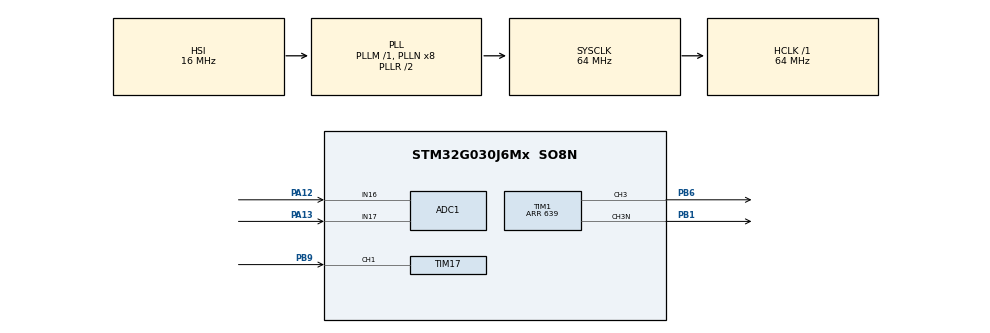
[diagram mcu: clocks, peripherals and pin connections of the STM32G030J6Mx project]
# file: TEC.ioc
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ADC1.NbrOfConversion=1
ADC1.NbrOfConversionFlag=0
ADC1.SamplingTimeCommon1=ADC_SAMPLETIME_39CYCLES_5
ADC1.SelectedChannel=ADC_CHANNEL_16|ADC_CHANNEL_17
ADC1.Sequencer=NOT_FULLY_CONFIGURABLE
ADC1.master=1
Dma.ADC1.0.Direction=DMA_PERIPH_TO_MEMORY
Dma.ADC1.0.EventEnable=DISABLE
Dma.ADC1.0.Instance=DMA1_Channel1
Dma.ADC1.0.MemDataAlignment=DMA_MDATAALIGN_HALFWORD
Dma.ADC1.0.MemInc=DMA_MINC_ENABLE
Dma.ADC1.0.Mode=DMA_NORMAL
Dma.ADC1.0.PeriphDataAlignment=DMA_PDATAALIGN_HALFWORD
Dma.ADC1.0.PeriphInc=DMA_PINC_DISABLE
Dma.ADC1.0.Polarity=HAL_DMAMUX_REQ_GEN_RISING
Dma.ADC1.0.Priority=DMA_PRIORITY_LOW
Dma.ADC1.0.RequestNumber=1
Dma.ADC1.0.SignalID=NONE
Dma.ADC1.0.SyncEnable=DISABLE
Dma.ADC1.0.SyncPolarity=HAL_DMAMUX_SYNC_NO_EVENT
Dma.ADC1.0.SyncRequestNumber=1
Dma.ADC1.0.SyncSignalID=NONE
Dma.Request0=ADC1
Mcu.Family=STM32G0
Mcu.Name=STM32G030J6Mx
Mcu.Package=SO8N
Mcu.UserConstants=MIN_POWER_PWM,17;MAX_POWER_PWM,622
NRST__PA0__PA1__PA2.StandardMode=true
NVIC.DMA1_Channel1_IRQn=true\:1\:0\:true\:false\:true\:false\:true\:true
NVIC.TIM17_IRQn=true\:0\:0\:false\:false\:true\:true\:true\:true
NVIC.TIM1_BRK_UP_TRG_COM_IRQn=true\:2\:0\:true\:false\:true\:true\:true\:true
PA12\ [PA10].Mode=IN16
PA12\ [PA10].Signal=ADC1_IN16
PA13.Mode=IN17
PA13.Signal=ADC1_IN17
PA14-BOOT0__PA15__PB5__PB6.StandardMode=true
PB0__PB1__PA8__PA11\ [PA9].StandardMode=true
PB1.GPIO_PuPd=GPIO_PULLDOWN
PB1.Mode=PWM Generation3 CH3 CH3N
PB1.Signal=TIM1_CH3N
PB6.Signal=S_TIM1_CH3
PB9.GPIO_PuPd=GPIO_PULLDOWN
PB9.Signal=S_TIM17_CH1
PC14-OSC32_IN\ (PC14)__PB7__PB8__PB9.StandardMode=true
ProjectManager.HeapSize=0x200
ProjectManager.StackSize=0x400
ProjectManager.TargetToolchain=MDK-ARM V5.32
RCC.ADCCLockSelection=RCC_ADCCLKSOURCE_HSI
RCC.ADCFreq_Value=16000000
RCC.AHBFreq_Value=64000000
RCC.CortexFreq_Value=64000000
RCC.EXTERNAL_CLOCK_VALUE=12288000
RCC.HCLKFreq_Value=64000000
RCC.HSE_VALUE=8000000
RCC.HSI_VALUE=16000000
RCC.LSE_VALUE=32768
RCC.SYSCLKFreq_VALUE=64000000
RCC.SYSCLKSource=RCC_SYSCLKSOURCE_PLLCLK
RCC.VCOOutputFreq_Value=128000000
SH.S_TIM17_CH1.0=TIM17_CH1,Input_Capture1_from_TI1
SH.S_TIM1_CH3.0=TIM1_CH3,PWM Generation3 CH3 CH3N
TIM1.Channel-PWM\ Generation3\ CH3\ CH3N=TIM_CHANNEL_3
TIM1.DeadTime=6
TIM1.OCMode_PWM-PWM\ Generation3\ CH3\ CH3N=TIM_OCMODE_PWM1
TIM1.Period=639
TIM1.Pulse-PWM\ Generation3\ CH3\ CH3N=17
TIM1.RepetitionCounter=3
TIM17.Channel=TIM_CHANNEL_1
TIM17.ICPolarity_CH1=TIM_INPUTCHANNELPOLARITY_BOTHEDGE
VP_TIM17_VS_ClockSourceINT.Mode=Enable_Timer
VP_TIM1_VS_ClockSourceINT.Mode=Internal
board=custom

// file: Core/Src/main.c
/* USER CODE BEGIN Header */
/**
  ******************************************************************************
  * @file           : main.c
  * @brief          : Main program body
  ******************************************************************************
  * @attention
  *
  * Copyright (c) 2022 STMicroelectronics.
  * All rights reserved.
  *
  * This software is licensed under terms that can be found in the LICENSE file
  * in the root directory of this software component.
  * If no LICENSE file comes with this software, it is provided AS-IS.
  *
  ******************************************************************************
  */
/* USER CODE END Header */
#include "main.h"

/* USER CODE BEGIN Includes */
#include "math.h"
#include "constant.h"

/* USER CODE END Includes */

ADC_HandleTypeDef hadc1;
DMA_HandleTypeDef hdma_adc1;

TIM_HandleTypeDef htim1;
TIM_HandleTypeDef htim17;

/* USER CODE BEGIN PV */
	volatile uint16_t adc[2] = {0,}; // у нас два канала поэтому массив из двух элементов

/* USER CODE END PV */

void SystemClock_Config(void);
static void MX_GPIO_Init(void);
static void MX_TIM1_Init(void);
static void MX_DMA_Init(void);
static void MX_ADC1_Init(void);
static void MX_TIM17_Init(void);

/* USER CODE BEGIN 0 */
enum Work_DC_DC {OFF_DC, LOW_GND, CALIBRATE_ADC_DC, VOLTAG_DC, CURRENT_DC, POWER_DC};	//Виды режимов функционирования DC/DC
enum Work_DC_DC type_work_dc_dc = CALIBRATE_ADC_DC;		//Режим работы DC/DC при включении питания - калибровка АЦП
enum Work_DC_DC return_type_work_dc_dc = LOW_GND;		//Режим работы DC/DC после калибровка АЦП или иной, если калибровку включили не при старте
uint32_t duty_cycle = 0;	//Стартуем на вырожденном PWM нижний транзистор всегда открыт, верхний закрыт. Идет калибровка АЦП

void delay(uint32_t n)  {

  while(n>0) n--;
}
//**************
//Калбэк таймера захвата ШИМ
uint16_t pwm_in_count_control = 0;
uint16_t pwm_in_flag_max_power = 0;		//Флаг приема команды включения максимальной мощности
uint16_t cap_pwm_fall = 0;
uint16_t cap_pwm_rise = 0;
uint16_t cap_pwm_in_old_rise = 0;
uint16_t cap_pwm_in_long_hight = 0;
uint16_t cap_pwm_in_long_period = 0;
uint32_t cap_power_in_scale = 0;	//отмасштабированная принятая уставка управления по мощности
uint32_t cap_v_in_scale = 0;	//отмасштабированная принятая уставка управления по напряжению
uint32_t cap_i_in_scale = 0;	//отмасштабированная принятая уставка управления по току

void HAL_TIM_IC_CaptureCallback(TIM_HandleTypeDef *htim) // колбек по захвату
{
	if(htim->Instance == TIM17)	{
		if(htim->Channel == HAL_TIM_ACTIVE_CHANNEL_1)	{// RISE/FALL
			//Чтение уровня на порте, для определения полярности пришедшего фронта. Исправить номер порта на маленьком процессоре!!! - GPB9?
			if (GPIOB->IDR & 0x0200)	{
				cap_pwm_rise = HAL_TIM_ReadCapturedValue(&htim17, TIM_CHANNEL_1); // чтение значения в регистре захвата/сравнения;
				cap_pwm_in_long_period = cap_pwm_rise - cap_pwm_in_old_rise;
				cap_pwm_in_old_rise = cap_pwm_rise;
			}
			else	{
				cap_pwm_fall = HAL_TIM_ReadCapturedValue(&htim17, TIM_CHANNEL_1); // чтение значения в регистре захвата/сравнения;;
				cap_pwm_in_long_hight = cap_pwm_fall - cap_pwm_rise;
			}
			//Проверка, что DC/DC не находится в режиме калибровки АЦП
			if (type_work_dc_dc != CALIBRATE_ADC_DC)	{
				//Проверка на рабочий диапазон периода ШИМ для управления по мощности (управление режимом калибровки АЦП и выход на стабилизацию напряжения, для максимальной мощности с пельтье)
				if ((cap_pwm_in_long_period >= PWM_IN_CONTROL_PERIOD_POWER_MIN) && (cap_pwm_in_long_period <= PWM_IN_CONTROL_PERIOD_POWER_MAX))	{
					//Сброс счетчика контроля работающего ШИМ управления
					pwm_in_count_control = 0;
					//Проверка на рабочий диапазон ШИМ по управления
					if ((cap_pwm_in_long_hight >= PWM_IN_MIN) && (cap_pwm_in_long_hight <= PWM_IN_MAX))	{
						cap_power_in_scale = (cap_pwm_in_long_hight - PWM_IN_MIN) * PWM_TO_POWER_SCALE;
						type_work_dc_dc = POWER_DC;	//Включаем режим стабилизации мощности
					}
					else	{
						cap_power_in_scale = 0; //Установка минимального значения
						type_work_dc_dc = POWER_DC;	//Включаем режим стабилизации мощности
					}
					//Проверка на включение режима калибровки АЦП
					if ((cap_pwm_in_long_hight >= PWM_IN_CALIBRATION_MIN) && (cap_pwm_in_long_hight <= PWM_IN_CALIBRATION_MAX))	{
						return_type_work_dc_dc = POWER_DC;	//Сохраняем для возврата из режима калибровки режим стабилизации мощности
						type_work_dc_dc = CALIBRATE_ADC_DC;	//Включаем режим калиброки АЦП
					}
					//Проверка на включение режима максимальной мощности
					if ((cap_pwm_in_long_hight >= PWM_IN_MAX_POWER_MIN) && (cap_pwm_in_long_hight <= PWM_IN_MAX_POWER_MAX))		{
						cap_v_in_scale = MAX_V_PILTIE;	//Уставка максимальной мощности по напряжению для пельтье
						type_work_dc_dc = VOLTAG_DC;	//Включаем режим стабилизации напряжения
					}
				}
					//Проверка на рабочий диапазон ШИМ для управления стабилизацией напряжения
				else if ((cap_pwm_in_long_period >= PWM_IN_CONTROL_PERIOD_VOLTAG_MIN) && (cap_pwm_in_long_period <= PWM_IN_CONTROL_PERIOD_VOLTAG_MAX))	{
					//Сброс счетчика контроля работающего ШИМ управлению напряжением
					pwm_in_count_control = 0;
					//Проверка на рабочий диапазон ШИМ по управлению напряжением
					if ((cap_pwm_in_long_hight >= PWM_IN_MIN) && (cap_pwm_in_long_hight <= PWM_IN_MAX))	{
						cap_v_in_scale = (cap_pwm_in_long_hight - PWM_IN_MIN) * PWM_TO_VOLTAG_SCALE;
						type_work_dc_dc = VOLTAG_DC;	//Включаем режим стабилизации напряжения
					}
					else	{
						cap_v_in_scale = 0; //Установка минимального значения
						type_work_dc_dc = VOLTAG_DC;	//Включаем режим стабилизации напряжения
					}
					//Проверка на включение режима калибровки АЦП
					if ((cap_pwm_in_long_hight >= PWM_IN_CALIBRATION_MIN) && (cap_pwm_in_long_hight <= PWM_IN_CALIBRATION_MAX))	{
						return_type_work_dc_dc = VOLTAG_DC;	//Сохраняем для возврата из режима калибровки режим стабилизации напряжени
						type_work_dc_dc = CALIBRATE_ADC_DC;	//Включаем режим калиброки АЦП
					}
				}
				//Проверка на рабочий диапазон ШИМ для управления стабилизацией тока
				else if ((cap_pwm_in_long_period >= PWM_IN_CONTROL_PERIOD_CURRENT_MIN) && (cap_pwm_in_long_period <= PWM_IN_CONTROL_PERIOD_CURRENT_MAX))	{
					//Сброс счетчика контроля работающего ШИМ управлению током
					pwm_in_count_control = 0;
					//Проверка на рабочий диапазон ШИМ по управлению током
					if ((cap_pwm_in_long_hight >= PWM_IN_MIN) && (cap_pwm_in_long_hight <= PWM_IN_MAX))	{
						cap_i_in_scale = (cap_pwm_in_long_hight - PWM_IN_MIN) * PWM_TO_CURRENT_SCALE;
						type_work_dc_dc = CURRENT_DC;	//Включаем режим стабилизации тока
					}
					else	{
						cap_i_in_scale = 0; //Установка минимального значения
						type_work_dc_dc = CURRENT_DC;	//Включаем режим стабилизации тока
					}
					//Проверка на включение режима калибровки АЦП
					if ((cap_pwm_in_long_hight >= PWM_IN_CALIBRATION_MIN) && (cap_pwm_in_long_hight <= PWM_IN_CALIBRATION_MAX))	{
						return_type_work_dc_dc = CURRENT_DC;	//Сохраняем для возврата из режима калибровки режим стабилизации тока
						type_work_dc_dc = CALIBRATE_ADC_DC;	//Включаем режим калиброки АЦП
					}
				}
				//Входной ШИМ не попадает по частоте ни в один из диапазонов
				else
					type_work_dc_dc = OFF_DC;	//Режим работы ШИМ - выключен
			}
		}
	}
}

//**************
//Калбэк таймера генератора ШИМ
uint64_t count_64_1 = 0;
uint64_t count_64_2 = 0;

void HAL_TIM_PeriodElapsedCallback(TIM_HandleTypeDef *htim)
{
	// GPIOA->ODR |= 0x20;//Для настройки на отладке!!!
  if(htim->Instance == TIM1) //проверяем какой таймер вызвал колбек
   {

		__HAL_TIM_SET_COMPARE(&htim1, TIM_CHANNEL_3, duty_cycle);
		//Софтовый запуск АЦП
		HAL_ADC_Start_DMA(&hadc1, (uint32_t*)&adc, 2); // стартуем АЦП
   }
}
//**************
//Калбэк АЦП. Тут происходит обработка логики работы и расчет регуляторов DC/DC
uint32_t flag_adc_calibrate = 1; //Включен режим стартовой калибровки АЦП
uint32_t count_start_adc = 0;			//
uint32_t count_stop_adc = 0;

uint32_t i_adc;
uint32_t i_adc_offset = 0;	//Настроечный коэффициент смещения
uint32_t i_adc_filtr;
uint32_t i_adc_filtr_normal;
uint32_t v_adc;
uint32_t v_adc_filtr;
uint32_t v_adc_offset = 0;	//Настроечный коэффициент смещения
uint32_t v_adc_filtr_normal;

//Переменные регулятора мощности
uint32_t pwr_adc;
int32_t pwr_uprav = 0;
int64_t pwr_uprav_filtr = 0;
int32_t pwr_uprav_filtr_out = 0;
uint32_t pwr_duty_cycle = 0;
uint32_t pwr_ustavka = 0;
int32_t pwr_kp = 12;
int32_t pwr_kd = 12;
int32_t pwr_ki = 0;
int32_t pwr_error = 0;
int32_t pwr_old = 0;
int32_t pwr_velocity = 0;
int32_t pwr_i = 0;
int64_t pwr_i64 = 0;
//Переменные регулятора напряжения
int32_t v_uprav = 0;
int32_t v_uprav_filtr = 0;
int32_t v_uprav_filtr_out = 0;
uint32_t v_duty_cycle = 0;
uint32_t v_ustavka = 0;
int32_t v_kp = 5;
int32_t v_kd = 30;
int32_t v_ki = 3;
int32_t v_error = 0;
int32_t v_old = 0;
int32_t v_velocity = 0;
int32_t v_integrator = 0;
int64_t v_i64 = 0;
//Переменные регулятора тока
int32_t i_uprav = 0;
int32_t i_uprav_filtr = 0;
int64_t i_uprav_filtr_out = 0;
uint32_t i_duty_cycle = 0;
uint32_t i_ustavka = 0;
int32_t i_kp = 5;
int32_t i_kd = 30;
int32_t i_ki = 3;
int32_t i_error = 0;
int32_t i_old = 0;
int32_t i_velocity = 0;
int32_t i_integrator = 0;
int64_t i_i64 = 0;

void HAL_ADC_ConvCpltCallback(ADC_HandleTypeDef* hadc)	{

	if(hadc->Instance == ADC1)	{ //Проверяем, что эвент с  ACD1
		//Примечание, в режиме работы АЦП данного проекта, в младший индекс массива, записывается АЦП с младшим каналом
		HAL_ADC_Stop_DMA(&hadc1);

		//Проверка на режим работы DC/DC
		switch (type_work_dc_dc)	{
			case LOW_GND:
				//ШИМ работает виртуально, граничное значение, нижний транзистор всегда открыт.
				duty_cycle = PWM_ZERO;	//Вырождаем ШИМ
			break;
//Режим работы калибровки АЦП DC/DC			******************************************************************************
			case CALIBRATE_ADC_DC:	//Режим калибровки АЦП
				count_start_adc++;	//Отсчет счетчика калибровки АЦП
				if (count_start_adc <= COUNT_ADC_CALIBRATE_START)
					duty_cycle = PWM_ZERO;	//Вырождаем ШИМ
				else {
					//Расчет фильтров калибровки осреднением
					v_adc_offset += adc[1];
					i_adc_offset += adc[0];
					//Проверка на завершение режима стартовой калибровки АЦП
					if (count_start_adc >= COUNT_ADC_CALIBRATE)	{
						count_start_adc = 0;	//Сброс счетчика калибровки АЦП для следующего цикла
						i_adc_offset = i_adc_offset >> 14;
						v_adc_offset = v_adc_offset >> 14;
						type_work_dc_dc = return_type_work_dc_dc;	//После калибровки, выходим в сохраненный режим
					}
				}
			break;
//Режим работы стабилизации мощности DC/DC			******************************************************************************
			case POWER_DC:
				//Небольшая фильтрация входа ацп тока и напряжения при 25 кГц вызова полоса примерно 100 Гц
				/*v_adc = v_adc - (v_adc >> 8) + (adc[0] <<12);
				v_adc_filtr = v_adc >> 20;
				i_adc = i_adc - (i_adc >> 8) + (adc[1] << 12);
				i_adc_filtr = i_adc >> 20;*/
				//Небольшая фильтрация входа ацп тока и напряжения при 25 кГц вызова полоса примерно 390 Гц
				/*v_adc = v_adc - (v_adc >> 6) + (adc[0] << 14);
				v_adc_filtr = v_adc >> 20;
				i_adc = i_adc - (i_adc >> 6) + (adc[1] << 14);
				i_adc_filtr = i_adc >> 20;*/
				//Небольшая фильтрация входа ацп тока и напряжения при 25 кГц вызова полоса примерно 1000 Гц
				v_adc = v_adc - (v_adc >> 4) + (adc[1] << 16);
				v_adc_filtr = v_adc >> 20;
				i_adc = i_adc - (i_adc >> 4) + (adc[0] << 16);
				i_adc_filtr = i_adc >> 20;

				//Сохраняем старое значение АЦП напряжения для расчета производной
				v_old = v_adc_filtr_normal;
				//Устраняем смещение напряжения
				if (v_adc_filtr < v_adc_offset)
					v_adc_filtr_normal = 0;
				else
					v_adc_filtr_normal = v_adc_filtr - v_adc_offset;
				//Сохраняем старое значение АЦП тока для расчета производной
				i_old = i_adc_filtr_normal;
				//Устраняем смещение измерения тока
				if (i_adc_filtr < i_adc_offset)
					i_adc_filtr_normal = 0;
				else
					i_adc_filtr_normal = i_adc_filtr - i_adc_offset;

				//Расчет мощности на Пельтье (DC/DC)
				pwr_old = pwr_adc;
				pwr_adc = v_adc_filtr_normal * i_adc_filtr_normal;

				//Расчет мощностного регулятора
				pwr_ustavka = cap_power_in_scale;		//Загрузка принятого значения
				pwr_error = pwr_ustavka - pwr_adc;	//Расчет ошибки

				pwr_velocity = pwr_adc - pwr_old;		//Расчет первой разности(производной)

				pwr_i64 += pwr_error;
				if ((pwr_i64 >> 32) > 250000)	{
						pwr_i64 = 250000;
						pwr_i64 = pwr_i64 << 32;
				}
				if ((pwr_i64 >> 32) < -250000)	{
						pwr_i64 = -250000;
						pwr_i64 = pwr_i64 << 32;
				}
				pwr_i = pwr_i64 >> 16;

				pwr_uprav = pwr_ustavka + ((pwr_error * pwr_kp) >> 8) - pwr_velocity * pwr_kd + ((pwr_i * pwr_ki));
				//Фильтрация управления 195 Гц
				pwr_uprav_filtr = pwr_uprav_filtr - (pwr_uprav_filtr >> 8) + (((int64_t)pwr_uprav) << 12);
				pwr_uprav_filtr_out = pwr_uprav_filtr >> 20;

				//Контроль отрицательны значений
				if (pwr_uprav < 0)
					pwr_duty_cycle = PWR_MIN;
				else	{
					//Линеаризация через корень квадратный и умножение на имперический масштабный коэфициент - Измерения АЦП -> ШИМ
					//АЦП (напряжение) умножаем на АЦП (ток) - получаем мощность. Уставка АЦП в квадратичном отношении к мощности.
					//Для линеаризации к уставке ШИМ, требуется из расчетной мощности, извлечь квадратный корень и полученый результат умножить на масштабный коэффициент.
					pwr_duty_cycle = (sqrt(pwr_uprav_filtr_out)*100)/ 445;
					if (pwr_duty_cycle < PWR_MIN)
						pwr_duty_cycle = PWR_MIN;
				}
				//Ограничение максимума
				if (pwr_duty_cycle > PWR_LIMIT)
					duty_cycle = PWR_LIMIT;
				else
					duty_cycle = pwr_duty_cycle;
				break;
//Режим работы стабилизации тока DC/DC			******************************************************************************
				case CURRENT_DC:
					//Небольшая фильтрация входа ацп тока и напряжения при 25 кГц вызова полоса примерно 1000 Гц
					v_adc = v_adc - (v_adc >> 4) + (adc[1] << 16);
					v_adc_filtr = v_adc >> 20;
					i_adc = i_adc - (i_adc >> 4) + (adc[0] << 16);
					i_adc_filtr = i_adc >> 20;

					//Сохраняем старое значение АЦП напряжения для расчета производной
					v_old = v_adc_filtr_normal;
					//Устраняем смещение напряжения
					if (v_adc_filtr < v_adc_offset)
						v_adc_filtr_normal = 0;
					else
						v_adc_filtr_normal = v_adc_filtr - v_adc_offset;
					//Сохраняем старое значение АЦП тока для расчета производной
					i_old = i_adc_filtr_normal;
					//Устраняем смещение измерения тока
					if (i_adc_filtr < i_adc_offset)
						i_adc_filtr_normal = 0;
					else
						i_adc_filtr_normal = i_adc_filtr - i_adc_offset;

					//Расчет регулятора по току
					i_ustavka = cap_i_in_scale;		//Загрузка принятого значения
					i_error = i_ustavka - i_adc_filtr_normal;//Расчет ошибки

					i_velocity = i_adc_filtr_normal - i_old;		//Расчет первой разности (производной)
					//Расчет интегратора с проверкой на ограничение
					i_integrator += i_error;
/*пересчитать I_INTEGR_MAX по масштабному коэфициенту*/					if (i_integrator > I_INTEGR_MAX)	{
						i_integrator = I_INTEGR_MAX;
					}
					if (i_integrator < -I_INTEGR_MAX)	{
							i_integrator = -I_INTEGR_MAX;
					}

					i_uprav = i_ustavka + i_error * i_kp - i_velocity * i_kd + ((i_integrator >> 16) * i_ki);

					//Фильтрация управления 195 Гц
					i_uprav_filtr = i_uprav_filtr - (i_uprav_filtr >> 8) + (i_uprav << 8);
					i_uprav_filtr_out = i_uprav_filtr >> 16;
					//Контроль отрицательны значений
					if (i_uprav_filtr_out < 0)
						i_duty_cycle = MIN_POWER_PWM;
					else	{
					//Полученый результат умножить на масштабный коэффициент.
/*Масштабный коэфициент зависит от сопротивления нагрузки. Требуется подбирать!!!*/					i_duty_cycle = (i_uprav_filtr_out * 100)/ 380;
					if (i_duty_cycle < PWR_MIN)
						i_duty_cycle = PWR_MIN;
					}
					//Ограничение максимума
					if (i_duty_cycle > MAX_POWER_PWM)
						duty_cycle = MAX_POWER_PWM;
					else
						duty_cycle = i_duty_cycle;
				break;
//Режим работы стабилизации напряжения DC/DC			******************************************************************************
				case VOLTAG_DC:
					//Небольшая фильтрация входа ацп тока и напряжения при 25 кГц вызова полоса примерно 195 Гц
					/*v_adc = v_adc - (v_adc >> 7) + (adc[0] << 13);
					v_adc_filtr = v_adc >> 20;
					i_adc = i_adc - (i_adc >> 7) + (adc[1] << 13);
					i_adc_filtr = i_adc >> 20;*/
					//Небольшая фильтрация входа ацп тока и напряжения при 25 кГц вызова полоса примерно 390 Гц
					/*v_adc = v_adc - (v_adc >> 6) + (adc[0] << 14);
					v_adc_filtr = v_adc >> 20;
					i_adc = i_adc - (i_adc >> 6) + (adc[1] << 14);
					i_adc_filtr = i_adc >> 20;*/
					//Небольшая фильтрация входа ацп тока и напряжения при 25 кГц вызова полоса примерно 1000 Гц
					v_adc = v_adc - (v_adc >> 4) + (adc[1] << 16);
					v_adc_filtr = v_adc >> 20;
					i_adc = i_adc - (i_adc >> 4) + (adc[0] << 16);
					i_adc_filtr = i_adc >> 20;

					//Сохраняем старое значение АЦП напряжения для расчета производной
					v_old = v_adc_filtr_normal;
					//Устраняем смещение напряжения
					if (v_adc_filtr < v_adc_offset)
						v_adc_filtr_normal = 0;
					else
						v_adc_filtr_normal = v_adc_filtr - v_adc_offset;
					//Сохраняем старое значение АЦП тока для расчета производной
					i_old = i_adc_filtr_normal;
					//Устраняем смещение измерения тока
					if (i_adc_filtr < i_adc_offset)
						i_adc_filtr_normal = 0;
					else
						i_adc_filtr_normal = i_adc_filtr - i_adc_offset;

					//Расчет регулятора по напряжению
					v_ustavka = cap_v_in_scale;		//Загрузка принятого значения
					v_error = v_ustavka - v_adc_filtr_normal;//Расчет ошибки

					v_velocity = v_adc_filtr_normal - v_old;		//Расчет первой разности (производной)
					//Расчет интегратора с проверкой на ограничение
					v_integrator += v_error;
					if (v_integrator > V_INTEGR_MAX)	{
						v_integrator = V_INTEGR_MAX;
					}
					if (v_integrator < -V_INTEGR_MAX)	{
							v_integrator = -V_INTEGR_MAX;
					}

					v_uprav = v_ustavka + v_error * v_kp - v_velocity * v_kd + ((v_integrator >> 16) * v_ki);

					//Фильтрация управления 195 Гц
					v_uprav_filtr = v_uprav_filtr - (v_uprav_filtr >> 8) + (v_uprav << 8);
					v_uprav_filtr_out = v_uprav_filtr >> 16;
					//Контроль отрицательны значений
					if (v_uprav_filtr_out < 0)
						v_duty_cycle = MIN_POWER_PWM;
					else	{
					//Полученый результат умножить на масштабный коэффициент.
					v_duty_cycle = (v_uprav_filtr_out * 100)/ 570;
					if (v_duty_cycle < PWR_MIN)
						v_duty_cycle = PWR_MIN;
					}
					//Ограничение максимума
					if (v_duty_cycle > MAX_POWER_PWM)
						duty_cycle = MAX_POWER_PWM;
					else
						duty_cycle = v_duty_cycle;
				break;
				default:
					//ШИМ работает виртуально, граничное значение, нижний транзистор всегда открыт.
					duty_cycle = PWM_ZERO;	//Вырождаем ШИМ
				}

			//Контроль коректного входного сигнала ШИМ - для отключения в случае пропадания входного шим
			pwm_in_count_control++;
			if (pwm_in_count_control >= PWM_IN_COUNT_CONTROL_MAX)	{
				duty_cycle = 0;	//Вырождаем ШИМ так как отсутствует входной сигнал управления ШИМ
				pwm_in_count_control = PWM_IN_COUNT_CONTROL_MAX;
			}

		}
}
/* USER CODE END 0 */

int main(void)
{

  /* MCU Configuration--------------------------------------------------------*/

  /* Reset of all peripherals, Initializes the Flash interface and the Systick. */
  HAL_Init();

  /* Configure the system clock */
  SystemClock_Config();

  /* Initialize all configured peripherals */
  MX_GPIO_Init();
  MX_TIM1_Init();
  MX_DMA_Init();
  MX_ADC1_Init();
  MX_TIM17_Init();
  /* USER CODE BEGIN 2 */
	//Инициализация UART
	//HAL_UART_Receive_IT(&huart2,(uint8_t*) recive_str_buffer, 1);

	//Запуск АЦП
	HAL_ADCEx_Calibration_Start(&hadc1);
	HAL_ADC_Start_DMA(&hadc1, (uint32_t*)&adc, 2); // стартуем АЦП
	//Запуск таймеров
__HAL_TIM_CLEAR_FLAG(&htim1, TIM_SR_UIF); // очищаем флаг
  HAL_TIM_Base_Start_IT(&htim1);

	//Запускаем PWM
  HAL_TIM_PWM_Start (&htim1, TIM_CHANNEL_3);
  HAL_TIMEx_PWMN_Start(&htim1, TIM_CHANNEL_3);

	//Запуск таймера захвата ШИМ внешнего управления
	HAL_TIM_IC_Start_IT(&htim17, TIM_CHANNEL_1);

  /* USER CODE END 2 */

  /* Infinite loop */
  while (1)
  {

  }
}

void SystemClock_Config(void)
{
  RCC_OscInitTypeDef RCC_OscInitStruct = {0};
  RCC_ClkInitTypeDef RCC_ClkInitStruct = {0};

  /** Configure the main internal regulator output voltage
  */
  HAL_PWREx_ControlVoltageScaling(PWR_REGULATOR_VOLTAGE_SCALE1);
  /** Initializes the RCC Oscillators according to the specified parameters
  * in the RCC_OscInitTypeDef structure.
  */
  RCC_OscInitStruct.OscillatorType = RCC_OSCILLATORTYPE_HSI;
  RCC_OscInitStruct.HSIState = RCC_HSI_ON;
  RCC_OscInitStruct.HSIDiv = RCC_HSI_DIV1;
  RCC_OscInitStruct.HSICalibrationValue = RCC_HSICALIBRATION_DEFAULT;
  RCC_OscInitStruct.PLL.PLLState = RCC_PLL_ON;
  RCC_OscInitStruct.PLL.PLLSource = RCC_PLLSOURCE_HSI;
  RCC_OscInitStruct.PLL.PLLM = RCC_PLLM_DIV1;
  RCC_OscInitStruct.PLL.PLLN = 8;
  RCC_OscInitStruct.PLL.PLLP = RCC_PLLP_DIV2;
  RCC_OscInitStruct.PLL.PLLR = RCC_PLLR_DIV2;
  if (HAL_RCC_OscConfig(&RCC_OscInitStruct) != HAL_OK)
  {
    Error_Handler();
  }
  /** Initializes the CPU, AHB and APB buses clocks
  */
  RCC_ClkInitStruct.ClockType = RCC_CLOCKTYPE_HCLK|RCC_CLOCKTYPE_SYSCLK
                              |RCC_CLOCKTYPE_PCLK1;
  RCC_ClkInitStruct.SYSCLKSource = RCC_SYSCLKSOURCE_PLLCLK;
  RCC_ClkInitStruct.AHBCLKDivider = RCC_SYSCLK_DIV1;
  RCC_ClkInitStruct.APB1CLKDivider = RCC_HCLK_DIV1;

  if (HAL_RCC_ClockConfig(&RCC_ClkInitStruct, FLASH_LATENCY_2) != HAL_OK)
  {
    Error_Handler();
  }
}

static void MX_ADC1_Init(void)
{

  ADC_ChannelConfTypeDef sConfig = {0};

  /** Configure the global features of the ADC (Clock, Resolution, Data Alignment and number of conversion)
  */
  hadc1.Instance = ADC1;
  hadc1.Init.ClockPrescaler = ADC_CLOCK_SYNC_PCLK_DIV2;
  hadc1.Init.Resolution = ADC_RESOLUTION_12B;
  hadc1.Init.DataAlign = ADC_DATAALIGN_RIGHT;
  hadc1.Init.ScanConvMode = ADC_SCAN_SEQ_FIXED;
  hadc1.Init.EOCSelection = ADC_EOC_SINGLE_CONV;
  hadc1.Init.LowPowerAutoWait = DISABLE;
  hadc1.Init.LowPowerAutoPowerOff = DISABLE;
  hadc1.Init.ContinuousConvMode = DISABLE;
  hadc1.Init.NbrOfConversion = 1;
  hadc1.Init.DiscontinuousConvMode = DISABLE;
  hadc1.Init.ExternalTrigConv = ADC_SOFTWARE_START;
  hadc1.Init.ExternalTrigConvEdge = ADC_EXTERNALTRIGCONVEDGE_NONE;
  hadc1.Init.DMAContinuousRequests = DISABLE;
  hadc1.Init.Overrun = ADC_OVR_DATA_PRESERVED;
  hadc1.Init.SamplingTimeCommon1 = ADC_SAMPLETIME_39CYCLES_5;
  hadc1.Init.OversamplingMode = DISABLE;
  hadc1.Init.TriggerFrequencyMode = ADC_TRIGGER_FREQ_HIGH;
  if (HAL_ADC_Init(&hadc1) != HAL_OK)
  {
    Error_Handler();
  }
  /** Configure Regular Channel
  */
  sConfig.Channel = ADC_CHANNEL_16;
  sConfig.Rank = ADC_RANK_CHANNEL_NUMBER;
  if (HAL_ADC_ConfigChannel(&hadc1, &sConfig) != HAL_OK)
  {
    Error_Handler();
  }
  /** Configure Regular Channel
  */
  sConfig.Channel = ADC_CHANNEL_17;
  if (HAL_ADC_ConfigChannel(&hadc1, &sConfig) != HAL_OK)
  {
    Error_Handler();
  }

}

static void MX_TIM1_Init(void)
{

  TIM_ClockConfigTypeDef sClockSourceConfig = {0};
  TIM_MasterConfigTypeDef sMasterConfig = {0};
  TIM_OC_InitTypeDef sConfigOC = {0};
  TIM_BreakDeadTimeConfigTypeDef sBreakDeadTimeConfig = {0};

  htim1.Instance = TIM1;
  htim1.Init.Prescaler = 0;
  htim1.Init.CounterMode = TIM_COUNTERMODE_UP;
  htim1.Init.Period = 639;
  htim1.Init.ClockDivision = TIM_CLOCKDIVISION_DIV1;
  htim1.Init.RepetitionCounter = 3;
  htim1.Init.AutoReloadPreload = TIM_AUTORELOAD_PRELOAD_DISABLE;
  if (HAL_TIM_Base_Init(&htim1) != HAL_OK)
  {
    Error_Handler();
  }
  sClockSourceConfig.ClockSource = TIM_CLOCKSOURCE_INTERNAL;
  if (HAL_TIM_ConfigClockSource(&htim1, &sClockSourceConfig) != HAL_OK)
  {
    Error_Handler();
  }
  if (HAL_TIM_PWM_Init(&htim1) != HAL_OK)
  {
    Error_Handler();
  }
  sMasterConfig.MasterOutputTrigger = TIM_TRGO_RESET;
  sMasterConfig.MasterOutputTrigger2 = TIM_TRGO2_RESET;
  sMasterConfig.MasterSlaveMode = TIM_MASTERSLAVEMODE_DISABLE;
  if (HAL_TIMEx_MasterConfigSynchronization(&htim1, &sMasterConfig) != HAL_OK)
  {
    Error_Handler();
  }
  sConfigOC.OCMode = TIM_OCMODE_PWM1;
  sConfigOC.Pulse = 17;
  sConfigOC.OCPolarity = TIM_OCPOLARITY_HIGH;
  sConfigOC.OCNPolarity = TIM_OCNPOLARITY_HIGH;
  sConfigOC.OCFastMode = TIM_OCFAST_DISABLE;
  sConfigOC.OCIdleState = TIM_OCIDLESTATE_RESET;
  sConfigOC.OCNIdleState = TIM_OCNIDLESTATE_RESET;
  if (HAL_TIM_PWM_ConfigChannel(&htim1, &sConfigOC, TIM_CHANNEL_3) != HAL_OK)
  {
    Error_Handler();
  }
  sBreakDeadTimeConfig.OffStateRunMode = TIM_OSSR_DISABLE;
  sBreakDeadTimeConfig.OffStateIDLEMode = TIM_OSSI_DISABLE;
  sBreakDeadTimeConfig.LockLevel = TIM_LOCKLEVEL_OFF;
  sBreakDeadTimeConfig.DeadTime = 6;
  sBreakDeadTimeConfig.BreakState = TIM_BREAK_DISABLE;
  sBreakDeadTimeConfig.BreakPolarity = TIM_BREAKPOLARITY_HIGH;
  sBreakDeadTimeConfig.BreakFilter = 0;
  sBreakDeadTimeConfig.BreakAFMode = TIM_BREAK_AFMODE_INPUT;
  sBreakDeadTimeConfig.Break2State = TIM_BREAK2_DISABLE;
  sBreakDeadTimeConfig.Break2Polarity = TIM_BREAK2POLARITY_HIGH;
  sBreakDeadTimeConfig.Break2Filter = 0;
  sBreakDeadTimeConfig.Break2AFMode = TIM_BREAK_AFMODE_INPUT;
  sBreakDeadTimeConfig.AutomaticOutput = TIM_AUTOMATICOUTPUT_DISABLE;
  if (HAL_TIMEx_ConfigBreakDeadTime(&htim1, &sBreakDeadTimeConfig) != HAL_OK)
  {
    Error_Handler();
  }
  HAL_TIM_MspPostInit(&htim1);

}

static void MX_TIM17_Init(void)
{

  TIM_IC_InitTypeDef sConfigIC = {0};

  htim17.Instance = TIM17;
  htim17.Init.Prescaler = 0;
  htim17.Init.CounterMode = TIM_COUNTERMODE_UP;
  htim17.Init.Period = 65535;
  htim17.Init.ClockDivision = TIM_CLOCKDIVISION_DIV1;
  htim17.Init.RepetitionCounter = 0;
  htim17.Init.AutoReloadPreload = TIM_AUTORELOAD_PRELOAD_DISABLE;
  if (HAL_TIM_Base_Init(&htim17) != HAL_OK)
  {
    Error_Handler();
  }
  if (HAL_TIM_IC_Init(&htim17) != HAL_OK)
  {
    Error_Handler();
  }
  sConfigIC.ICPolarity = TIM_INPUTCHANNELPOLARITY_BOTHEDGE;
  sConfigIC.ICSelection = TIM_ICSELECTION_DIRECTTI;
  sConfigIC.ICPrescaler = TIM_ICPSC_DIV1;
  sConfigIC.ICFilter = 0;
  if (HAL_TIM_IC_ConfigChannel(&htim17, &sConfigIC, TIM_CHANNEL_1) != HAL_OK)
  {
    Error_Handler();
  }

}

static void MX_DMA_Init(void)
{

  /* DMA controller clock enable */
  __HAL_RCC_DMA1_CLK_ENABLE();

  /* DMA interrupt init */
  /* DMA1_Channel1_IRQn interrupt configuration */
  HAL_NVIC_SetPriority(DMA1_Channel1_IRQn, 1, 0);
  HAL_NVIC_EnableIRQ(DMA1_Channel1_IRQn);

}

static void MX_GPIO_Init(void)
{

  /* GPIO Ports Clock Enable */
  __HAL_RCC_GPIOB_CLK_ENABLE();
  __HAL_RCC_GPIOA_CLK_ENABLE();

}

void Error_Handler(void)
{
  __disable_irq();
  while (1)
  {
  }
}
